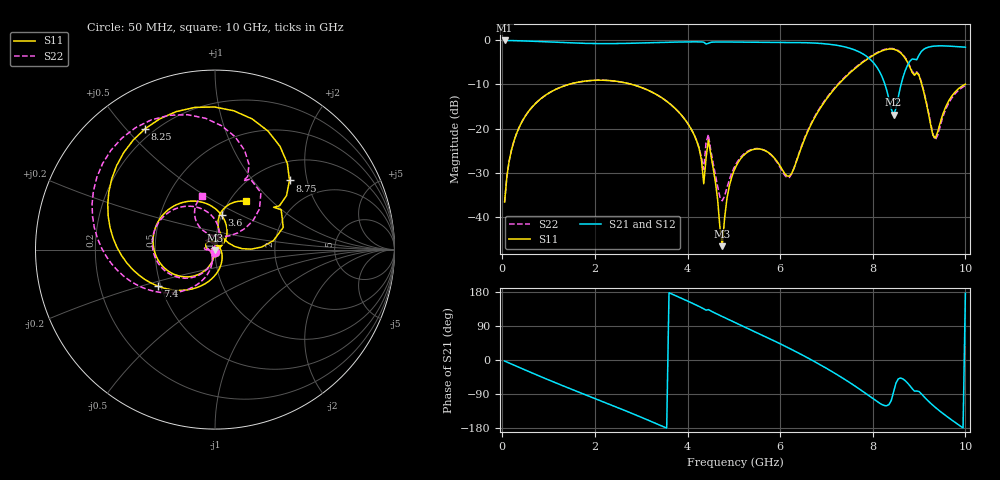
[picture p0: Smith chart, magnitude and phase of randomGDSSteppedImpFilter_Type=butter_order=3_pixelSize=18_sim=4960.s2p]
! freq	dB(S11)	phase(S11)	dB(S12)	phase(S12)
!  dB(S21)	phase(S21)	dB(S22)	phase(S22)
!S-par simulation data
#  GHz  S  DB  R 50
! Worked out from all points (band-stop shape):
!   200 points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, 50 MHz to 10 GHz, reference 50 ohm
!   highest |S21| = 0.00 dB at 50 MHz (marker M1); lowest = -16.8 dB at 8.45 GHz (marker M2)
!   |S21| within 3 dB of the highest: start of sweep to 7.778 GHz; 9.019 GHz to end of sweep
!   lowest |S11| = -46.7 dB at 4.75 GHz (marker M3), VSWR 1.01, Z = 50 - j0.46 ohm
!   |S11| at or under -10 dB: start of sweep to 1.431 GHz; 2.803 GHz to 7.256 GHz (4.453 GHz wide, 88.5 % of centre); 9.058 GHz to 9.988 GHz (929.5 MHz wide, 9.76 % of centre)
!   |S22| runs from -36.7 to -1.8 dB; largest |S21 - S12| = 0
!   S11 on the Smith chart (normalised r, x): 50 MHz: 1.00, -0.03; 3.6 GHz: 1.00, +0.40; 7.4 GHz: 0.48, -0.23; 8.25 GHz: 0.17, +0.57; 8.75 GHz: 1.38, +1.57; 10 GHz: 1.18, +0.71
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0.05  -36.70 -93.6  -0.00 -2.7  -0.00 -2.7  -36.73 -93.8
0.2  -24.82 -101.5  -0.03 -10.8  -0.03 -10.8  -24.82 -100.9
0.5  -17.13 -117.8  -0.12 -26.7  -0.12 -26.7  -17.13 -116.4
1.75  -9.28 177.0  -0.65 -89.6  -0.65 -89.6  -9.28 -177.4
3.4  -12.72 90.6  -0.46 -171.9  -0.46 -171.9  -12.73 105.9
3.6  -14.22 79.0  -0.41 177.5  -0.41 177.5  -14.22 96.6
4.15  -21.61 44.2  -0.32 147.2  -0.32 147.2  -21.57 74.6
4.35  -32.55 40.8  -0.39 134.8  -0.39 134.8  -29.27 100.1
4.45  -22.59 58.7  -0.66 133.0  -0.66 133.0  -21.37 86.7
4.75  -46.72 -93.9  -0.35 114.8  -0.35 114.8  -36.42 131.7
5.05  -28.51 -179.6  -0.37 97.8  -0.37 97.8  -28.01 -178.2
5.6  -24.73 136.3  -0.41 66.4  -0.41 66.4  -24.70 170.0
6.2  -30.81 24.4  -0.44 30.7  -0.44 30.7  -31.10 -144.4
6.7  -18.42 -81.5  -0.57 -1.3  -0.57 -1.3  -18.18 -104.7
7.4  -8.43 -147.6  -1.48 -51.5  -1.48 -51.5  -8.26 -141.8
7.9  -4.11 162.7  -3.88 -92.8  -3.88 -92.8  -3.98 179.1
8.25  -2.18 120.0  -9.57 -120.1  -9.57 -120.1  -2.06 142.6
8.35  -1.95 105.6  -13.33 -117.6  -13.33 -117.6  -1.84 129.9
8.45  -2.00 90.3  -16.83 -84.3  -16.83 -84.3  -1.88 116.2
8.75  -4.94 42.9  -5.64 -60.6  -5.64 -60.6  -4.77 73.4
9.35  -22.17 50.0  -1.26 -125.0  -1.26 -125.0  -22.57 82.0
10  -9.93 57.4  -1.53 176.3  -1.53 176.3  -10.26 103.6
